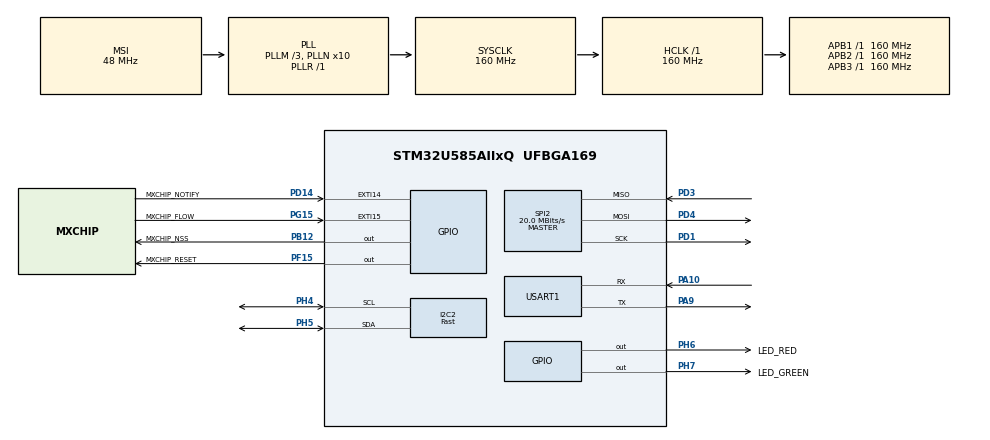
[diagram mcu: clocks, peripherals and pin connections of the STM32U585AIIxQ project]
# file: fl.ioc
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CORTEX_M33_NS.userName=CORTEX_M33
I2C2.I2C_Speed_Mode=I2C_Fast
I2C2.Timing=0x00F07BFF
Mcu.Family=STM32U5
Mcu.Name=STM32U585AIIxQ
Mcu.Package=UFBGA169
NETXDUO.NX_APP_MEM_POOL_SIZE=80*1024
NETXDUO.NX_DRIVER_DEFERRED_PROCESSING=true
NETXDUO.NX_IP_PERIODIC_RATE=1000
NETXDUO.NX_PHYSICAL_HEADER=44
NETXDUO.NX_SNTP_CLIENT_MAX_ROOT_DISPERSION=500000
NETXDUO.NX_SNTP_CLIENT_MIN_SERVER_STRATUM=5
NVIC.EXTI14_IRQn=true\:5\:0\:true\:false\:true\:false\:false\:true\:true
NVIC.EXTI15_IRQn=true\:5\:0\:true\:false\:true\:false\:false\:true\:true
NVIC.PriorityGroup=NVIC_PRIORITYGROUP_4
NVIC.TIM6_IRQn=true\:15\:0\:false\:false\:true\:false\:false\:true\:true
NVIC.TimeBase=TIM6_IRQn
NVIC.TimeBaseIP=TIM6
NVIC.USART1_IRQn=true\:5\:0\:true\:false\:true\:false\:false\:true\:true
PA10.Mode=Asynchronous
PA10.Signal=USART1_RX
PA9.Mode=Asynchronous
PA9.Signal=USART1_TX
PB12.GPIO_Label=MXCHIP_NSS
PB12.GPIO_Speed=GPIO_SPEED_FREQ_HIGH
PB12.PinState=GPIO_PIN_SET
PB12.Signal=GPIO_Output
PD1.GPIO_Mode=GPIO_MODE_AF_PP
PD1.GPIO_PuPd=GPIO_NOPULL
PD1.GPIO_Speed=GPIO_SPEED_FREQ_LOW
PD1.Mode=Full_Duplex_Master
PD1.Signal=SPI2_SCK
PD14.GPIO_Label=MXCHIP_NOTIFY
PD14.Signal=GPXTI14
PD3.GPIO_Mode=GPIO_MODE_AF_PP
PD3.GPIO_PuPd=GPIO_NOPULL
PD3.GPIO_Speed=GPIO_SPEED_FREQ_LOW
PD3.Mode=Full_Duplex_Master
PD3.Signal=SPI2_MISO
PD4.GPIO_Mode=GPIO_MODE_AF_PP
PD4.GPIO_PuPd=GPIO_NOPULL
PD4.GPIO_Speed=GPIO_SPEED_FREQ_LOW
PD4.Mode=Full_Duplex_Master
PD4.Signal=SPI2_MOSI
PF15.GPIO_Label=MXCHIP_RESET
PF15.GPIO_Speed=GPIO_SPEED_FREQ_HIGH
PF15.Signal=GPIO_Output
PG15.GPIO_Label=MXCHIP_FLOW
PG15.Signal=GPXTI15
PH4.Mode=I2C
PH4.Signal=I2C2_SCL
PH5.Mode=I2C
PH5.Signal=I2C2_SDA
PH6.GPIO_Label=LED_RED
PH6.GPIO_Speed=GPIO_SPEED_FREQ_HIGH
PH6.PinState=GPIO_PIN_SET
PH6.Signal=GPIO_Output
PH7.GPIO_Label=LED_GREEN
PH7.GPIO_Speed=GPIO_SPEED_FREQ_HIGH
PH7.PinState=GPIO_PIN_SET
PH7.Signal=GPIO_Output
PWR.PowerMode=PWR_SMPS_SUPPLY
ProjectManager.HeapSize=0x200
ProjectManager.StackSize=0x400
ProjectManager.TargetToolchain=CMake
RCC.ADCFreq_Value=16000000
RCC.AHBFreq_Value=160000000
RCC.APB1Freq_Value=160000000
RCC.APB1TimFreq_Value=160000000
RCC.APB2Freq_Value=160000000
RCC.APB2TimFreq_Value=160000000
RCC.APB3Freq_Value=160000000
RCC.CortexFreq_Value=160000000
RCC.DACCLockSelectionVirtual=RCC_DAC1CLKSOURCE_LSI
RCC.EPOD_VALUE=48000000
RCC.HCLKFreq_Value=160000000
RCC.HSE_VALUE=16000000
RCC.HSI48_VALUE=48000000
RCC.HSI_VALUE=16000000
RCC.LSE_VALUE=32768
RCC.LSIDIV_VALUE=32000
RCC.MSIClockRange=RCC_MSIRANGE_0
RCC.MSI_VALUE=48000000
RCC.PLL1R=1
RCC.PLLM=3
RCC.PLLN=10
RCC.SPI2CLockSelection=RCC_SPI2CLKSOURCE_PCLK1
RCC.SYSCLKFreq_VALUE=160000000
RCC.SYSCLKSource=RCC_SYSCLKSOURCE_PLLCLK
RCC.USBFreq_Value=48000000
RCC.VCOOutputFreq_Value=160000000
SPI2.BaudRatePrescaler=SPI_BAUDRATEPRESCALER_8
SPI2.CalculateBaudRate=20.0 MBits/s
SPI2.DataSize=SPI_DATASIZE_8BIT
SPI2.Direction=SPI_DIRECTION_2LINES
SPI2.Mode=SPI_MODE_MASTER
SPI2.NSSPMode=SPI_NSS_PULSE_DISABLE
SPI2.VirtualType=VM_MASTER
THREADX.TX_APP_CREATION=1
THREADX.TX_APP_GENERATE_INIT_CODE=true
THREADX.TX_APP_MEM_POOL_SIZE=8192
THREADX.TX_APP_STACK_SIZE=2048
THREADX.TX_APP_THREAD_ENTRY=tx_sensor_entry
THREADX.TX_APP_THREAD_NAME=tx_sensor
THREADX.TX_APP_THREAD_PRIO=2
THREADX.TX_TIMER_TICKS_PER_SECOND=1000
USART1.VirtualMode-Asynchronous=VM_ASYNC
VP_ICACHE_VS_ICACHE.Mode=DirectMappedCache
VP_LPBAMQUEUE_VS_QUEUE.Mode=QUEUEMODE
VP_LPBAM_VS_SIG1.Mode=SmartRun
VP_LPBAM_VS_SIG4.Mode=LPDMA1
VP_MEMORYMAP_VS_MEMORYMAP.Mode=CurAppReg
VP_NETXDUO_VS_AddonsOoDHCP.Mode=Addons_DHCP_Client
VP_NETXDUO_VS_AddonsOoDNS.Mode=Addons_DNS
VP_NETXDUO_VS_AddonsOoSNTP.Mode=Addons_SNTP
VP_NETXDUO_VS_NXOoCore.Mode=NX_Core
VP_PWR_VS_DBSignals.Mode=DisableDeadBatterySignals
VP_PWR_VS_LPOM.Mode=PowerOptimisation
VP_PWR_VS_SECSignals.Mode=Security/Privilege
VP_RTC_VS_RTC_Activate.Mode=RTC_Enabled
VP_SYS_VS_tim6.Mode=TIM6
VP_THREADX_VS_RTOSJjThreadXJjCoreJjDefault.Mode=Core_Default
board=B-U585I-IOT02A

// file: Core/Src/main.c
/* USER CODE BEGIN Header */
/**
  ******************************************************************************
  * @file           : main.c
  * @brief          : Main program body
  ******************************************************************************
  * @attention
  *
  * Copyright (c) 2021 STMicroelectronics.
  * All rights reserved.
  *
  * This software is licensed under terms that can be found in the LICENSE file
  * in the root directory of this software component.
  * If no LICENSE file comes with this software, it is provided AS-IS.
  *
  ******************************************************************************
  */
/* USER CODE END Header */
#include "app_threadx.h"
#include "main.h"

/* USER CODE BEGIN Includes */
#include <stdio.h>
#include <unistd.h> // for _write

#include "b_u585i_iot02a.h"
#include "b_u585i_iot02a_motion_sensors.h"
#include "b_u585i_iot02a_env_sensors.h"
#include "ism330dhcx.h"

#include "mx_wifi_conf.h"

#if defined(__ICCARM__)
#include <LowLevelIOInterface.h>
#endif /* __ICCARM__ */
/* USER CODE END Includes */

/* USER CODE BEGIN PTD */
#if defined(__ICCARM__)
/* New definition from EWARM V9, compatible with EWARM8 */
int iar_fputc(int ch);
#define PUTCHAR_PROTOTYPE int iar_fputc(int ch)
#elif defined ( __GNUC__) && !defined(__clang__)
/* With GCC, small printf (option LD Linker->Libraries->Small printf
   set to 'Yes') calls __io_putchar() */
#define PUTCHAR_PROTOTYPE int __io_putchar(int ch)
#else
#define PUTCHAR_PROTOTYPE int fputc(int ch, FILE *f)
#endif /* __ICCARM__ */
/* USER CODE END PTD */

I2C_HandleTypeDef hi2c2;

RTC_HandleTypeDef hrtc;

SPI_HandleTypeDef hspi2;

UART_HandleTypeDef huart1;

/* USER CODE BEGIN PV */
extern uint8_t uart_rx_byte;
/* USER CODE END PV */

void SystemClock_Config(void);
static void SystemPower_Config(void);
static void MX_GPIO_Init(void);
static void MX_ICACHE_Init(void);
static void MX_SPI2_Init(void);
static void MX_USART1_UART_Init(void);
static void MX_RTC_Init(void);
static void MX_I2C2_Init(void);

/* USER CODE BEGIN 0 */
void HAL_GPIO_EXTI_Rising_Callback(uint16_t GPIO_Pin)
{
  switch (GPIO_Pin)
  {
    case (GPIO_PIN_1):

      break;
#if MX_WIFI_USE_SPI == 1
    case (MXCHIP_FLOW_Pin):
      mxchip_WIFI_ISR(MXCHIP_FLOW_Pin);
      nx_driver_emw3080_interrupt();
      break;

    case (MXCHIP_NOTIFY_Pin):
      mxchip_WIFI_ISR(MXCHIP_NOTIFY_Pin);
      nx_driver_emw3080_interrupt();
      break;
#endif /* MX_WIFI_USE_SPI */

    default:
      break;
  }
}

void Success_Handler(void)
{
   HAL_GPIO_WritePin(LED_RED_GPIO_Port, LED_RED_Pin, GPIO_PIN_SET);
   while(1)
   {
     HAL_GPIO_TogglePin(LED_GREEN_GPIO_Port, LED_GREEN_Pin);
     tx_thread_sleep(50);
   }
}
/* USER CODE END 0 */

int main(void)
{

  /* MCU Configuration--------------------------------------------------------*/

  /* Reset of all peripherals, Initializes the Flash interface and the Systick. */
  HAL_Init();

  /* Configure the System Power */
  SystemPower_Config();

  /* Configure the system clock */
  SystemClock_Config();

  /* Initialize all configured peripherals */
  MX_GPIO_Init();
  MX_ICACHE_Init();
  MX_SPI2_Init();
  MX_USART1_UART_Init();
  MX_RTC_Init();
  MX_I2C2_Init();
  /* USER CODE BEGIN 2 */
   // setvbuf(stdout, NULL, _IONBF, 0);    // this line was required to be added in lab07, but when added here, for some reason, it stops board-to-pc communication. Ignore for now.

  // ---- IMU Sensor (ACC + GYRO) ----
  BSP_MOTION_SENSOR_Init(0U, MOTION_ACCELERO | MOTION_GYRO);

  // Configure Accelerometer (26 Hz, 4g)
  BSP_MOTION_SENSOR_SetOutputDataRate(0U, MOTION_ACCELERO, 26.0f);
  BSP_MOTION_SENSOR_SetFullScale(0U, MOTION_ACCELERO, 4);

  // Configure Gyroscope (26 Hz, 2000 dps full scale)
  BSP_MOTION_SENSOR_SetOutputDataRate(0U, MOTION_GYRO, 26.0f);
  BSP_MOTION_SENSOR_SetFullScale(0U, MOTION_GYRO, 2000);

  BSP_MOTION_SENSOR_Enable(0U, MOTION_ACCELERO);
  BSP_MOTION_SENSOR_Enable(0U, MOTION_GYRO);

  // ---- Pressure Sensor ----
  BSP_ENV_SENSOR_Init(1, ENV_PRESSURE);
  BSP_ENV_SENSOR_Enable(1, ENV_PRESSURE);

  // initialize button in EXTI interrupt mode
  BSP_PB_Init(BUTTON_USER, BUTTON_MODE_EXTI);

  // prime the UART receive interrupt
  HAL_UART_Receive_IT(&huart1, &uart_rx_byte, 1);

  /* USER CODE END 2 */

  MX_ThreadX_Init();

  /* We should never get here as control is now taken by the scheduler */

  /* Infinite loop */
  while (1)
  {

  }
}

void SystemClock_Config(void)
{
  RCC_OscInitTypeDef RCC_OscInitStruct = {0};
  RCC_ClkInitTypeDef RCC_ClkInitStruct = {0};

  /** Configure the main internal regulator output voltage
  */
  if (HAL_PWREx_ControlVoltageScaling(PWR_REGULATOR_VOLTAGE_SCALE1) != HAL_OK)
  {
    Error_Handler();
  }

  /** Initializes the CPU, AHB and APB buses clocks
  */
  RCC_OscInitStruct.OscillatorType = RCC_OSCILLATORTYPE_LSI|RCC_OSCILLATORTYPE_MSI;
  RCC_OscInitStruct.LSIState = RCC_LSI_ON;
  RCC_OscInitStruct.MSIState = RCC_MSI_ON;
  RCC_OscInitStruct.MSICalibrationValue = RCC_MSICALIBRATION_DEFAULT;
  RCC_OscInitStruct.MSIClockRange = RCC_MSIRANGE_0;
  RCC_OscInitStruct.LSIDiv = RCC_LSI_DIV1;
  RCC_OscInitStruct.PLL.PLLState = RCC_PLL_ON;
  RCC_OscInitStruct.PLL.PLLSource = RCC_PLLSOURCE_MSI;
  RCC_OscInitStruct.PLL.PLLMBOOST = RCC_PLLMBOOST_DIV4;
  RCC_OscInitStruct.PLL.PLLM = 3;
  RCC_OscInitStruct.PLL.PLLN = 10;
  RCC_OscInitStruct.PLL.PLLP = 2;
  RCC_OscInitStruct.PLL.PLLQ = 2;
  RCC_OscInitStruct.PLL.PLLR = 1;
  RCC_OscInitStruct.PLL.PLLRGE = RCC_PLLVCIRANGE_1;
  RCC_OscInitStruct.PLL.PLLFRACN = 0;
  if (HAL_RCC_OscConfig(&RCC_OscInitStruct) != HAL_OK)
  {
    Error_Handler();
  }

  /** Initializes the CPU, AHB and APB buses clocks
  */
  RCC_ClkInitStruct.ClockType = RCC_CLOCKTYPE_HCLK|RCC_CLOCKTYPE_SYSCLK
                              |RCC_CLOCKTYPE_PCLK1|RCC_CLOCKTYPE_PCLK2
                              |RCC_CLOCKTYPE_PCLK3;
  RCC_ClkInitStruct.SYSCLKSource = RCC_SYSCLKSOURCE_PLLCLK;
  RCC_ClkInitStruct.AHBCLKDivider = RCC_SYSCLK_DIV1;
  RCC_ClkInitStruct.APB1CLKDivider = RCC_HCLK_DIV1;
  RCC_ClkInitStruct.APB2CLKDivider = RCC_HCLK_DIV1;
  RCC_ClkInitStruct.APB3CLKDivider = RCC_HCLK_DIV1;

  if (HAL_RCC_ClockConfig(&RCC_ClkInitStruct, FLASH_LATENCY_4) != HAL_OK)
  {
    Error_Handler();
  }
}

/**
  * @brief Power Configuration
  * @retval None
  */
static void SystemPower_Config(void)
{
  HAL_PWREx_EnableVddIO2();

  /*
   * Disable the internal Pull-Up in Dead Battery pins of UCPD peripheral
   */
  HAL_PWREx_DisableUCPDDeadBattery();

  /*
   * Switch to SMPS regulator instead of LDO
   */
  if (HAL_PWREx_ConfigSupply(PWR_SMPS_SUPPLY) != HAL_OK)
  {
    Error_Handler();
  }
}

static void MX_I2C2_Init(void)
{

  hi2c2.Instance = I2C2;
  hi2c2.Init.Timing = 0x00F07BFF;
  hi2c2.Init.OwnAddress1 = 0;
  hi2c2.Init.AddressingMode = I2C_ADDRESSINGMODE_7BIT;
  hi2c2.Init.DualAddressMode = I2C_DUALADDRESS_DISABLE;
  hi2c2.Init.OwnAddress2 = 0;
  hi2c2.Init.OwnAddress2Masks = I2C_OA2_NOMASK;
  hi2c2.Init.GeneralCallMode = I2C_GENERALCALL_DISABLE;
  hi2c2.Init.NoStretchMode = I2C_NOSTRETCH_DISABLE;
  if (HAL_I2C_Init(&hi2c2) != HAL_OK)
  {
    Error_Handler();
  }

  /** Configure Analogue filter
  */
  if (HAL_I2CEx_ConfigAnalogFilter(&hi2c2, I2C_ANALOGFILTER_ENABLE) != HAL_OK)
  {
    Error_Handler();
  }

  /** Configure Digital filter
  */
  if (HAL_I2CEx_ConfigDigitalFilter(&hi2c2, 0) != HAL_OK)
  {
    Error_Handler();
  }

}

static void MX_ICACHE_Init(void)
{

  /** Enable instruction cache in 1-way (direct mapped cache)
  */
  if (HAL_ICACHE_ConfigAssociativityMode(ICACHE_1WAY) != HAL_OK)
  {
    Error_Handler();
  }
  if (HAL_ICACHE_Enable() != HAL_OK)
  {
    Error_Handler();
  }

}

static void MX_RTC_Init(void)
{

  RTC_PrivilegeStateTypeDef privilegeState = {0};

  /** Initialize RTC Only
  */
  hrtc.Instance = RTC;
  hrtc.Init.HourFormat = RTC_HOURFORMAT_24;
  hrtc.Init.AsynchPrediv = 127;
  hrtc.Init.SynchPrediv = 255;
  hrtc.Init.OutPut = RTC_OUTPUT_DISABLE;
  hrtc.Init.OutPutRemap = RTC_OUTPUT_REMAP_NONE;
  hrtc.Init.OutPutPolarity = RTC_OUTPUT_POLARITY_HIGH;
  hrtc.Init.OutPutType = RTC_OUTPUT_TYPE_OPENDRAIN;
  hrtc.Init.OutPutPullUp = RTC_OUTPUT_PULLUP_NONE;
  hrtc.Init.BinMode = RTC_BINARY_NONE;
  if (HAL_RTC_Init(&hrtc) != HAL_OK)
  {
    Error_Handler();
  }
  privilegeState.rtcPrivilegeFull = RTC_PRIVILEGE_FULL_NO;
  privilegeState.backupRegisterPrivZone = RTC_PRIVILEGE_BKUP_ZONE_NONE;
  privilegeState.backupRegisterStartZone2 = RTC_BKP_DR0;
  privilegeState.backupRegisterStartZone3 = RTC_BKP_DR0;
  if (HAL_RTCEx_PrivilegeModeSet(&hrtc, &privilegeState) != HAL_OK)
  {
    Error_Handler();
  }

}

static void MX_SPI2_Init(void)
{

  SPI_AutonomousModeConfTypeDef HAL_SPI_AutonomousMode_Cfg_Struct = {0};

  /* SPI2 parameter configuration*/
  hspi2.Instance = SPI2;
  hspi2.Init.Mode = SPI_MODE_MASTER;
  hspi2.Init.Direction = SPI_DIRECTION_2LINES;
  hspi2.Init.DataSize = SPI_DATASIZE_8BIT;
  hspi2.Init.CLKPolarity = SPI_POLARITY_LOW;
  hspi2.Init.CLKPhase = SPI_PHASE_1EDGE;
  hspi2.Init.NSS = SPI_NSS_SOFT;
  hspi2.Init.BaudRatePrescaler = SPI_BAUDRATEPRESCALER_8;
  hspi2.Init.FirstBit = SPI_FIRSTBIT_MSB;
  hspi2.Init.TIMode = SPI_TIMODE_DISABLE;
  hspi2.Init.CRCCalculation = SPI_CRCCALCULATION_DISABLE;
  hspi2.Init.CRCPolynomial = 0x7;
  hspi2.Init.NSSPMode = SPI_NSS_PULSE_DISABLE;
  hspi2.Init.NSSPolarity = SPI_NSS_POLARITY_LOW;
  hspi2.Init.FifoThreshold = SPI_FIFO_THRESHOLD_01DATA;
  hspi2.Init.MasterSSIdleness = SPI_MASTER_SS_IDLENESS_00CYCLE;
  hspi2.Init.MasterInterDataIdleness = SPI_MASTER_INTERDATA_IDLENESS_00CYCLE;
  hspi2.Init.MasterReceiverAutoSusp = SPI_MASTER_RX_AUTOSUSP_DISABLE;
  hspi2.Init.MasterKeepIOState = SPI_MASTER_KEEP_IO_STATE_DISABLE;
  hspi2.Init.IOSwap = SPI_IO_SWAP_DISABLE;
  hspi2.Init.ReadyMasterManagement = SPI_RDY_MASTER_MANAGEMENT_INTERNALLY;
  hspi2.Init.ReadyPolarity = SPI_RDY_POLARITY_HIGH;
  if (HAL_SPI_Init(&hspi2) != HAL_OK)
  {
    Error_Handler();
  }
  HAL_SPI_AutonomousMode_Cfg_Struct.TriggerState = SPI_AUTO_MODE_DISABLE;
  HAL_SPI_AutonomousMode_Cfg_Struct.TriggerSelection = SPI_GRP1_GPDMA_CH0_TCF_TRG;
  HAL_SPI_AutonomousMode_Cfg_Struct.TriggerPolarity = SPI_TRIG_POLARITY_RISING;
  if (HAL_SPIEx_SetConfigAutonomousMode(&hspi2, &HAL_SPI_AutonomousMode_Cfg_Struct) != HAL_OK)
  {
    Error_Handler();
  }
  /* USER CODE BEGIN SPI2_Init 2 */
SPI2->CFG1 |= 0x00000007 << SPI_CFG1_CRCSIZE_Pos;
  /* USER CODE END SPI2_Init 2 */

}

static void MX_USART1_UART_Init(void)
{

  huart1.Instance = USART1;
  huart1.Init.BaudRate = 115200;
  huart1.Init.WordLength = UART_WORDLENGTH_8B;
  huart1.Init.StopBits = UART_STOPBITS_1;
  huart1.Init.Parity = UART_PARITY_NONE;
  huart1.Init.Mode = UART_MODE_TX_RX;
  huart1.Init.HwFlowCtl = UART_HWCONTROL_NONE;
  huart1.Init.OverSampling = UART_OVERSAMPLING_16;
  huart1.Init.OneBitSampling = UART_ONE_BIT_SAMPLE_DISABLE;
  huart1.Init.ClockPrescaler = UART_PRESCALER_DIV1;
  huart1.AdvancedInit.AdvFeatureInit = UART_ADVFEATURE_NO_INIT;
  if (HAL_UART_Init(&huart1) != HAL_OK)
  {
    Error_Handler();
  }
  if (HAL_UARTEx_SetTxFifoThreshold(&huart1, UART_TXFIFO_THRESHOLD_1_8) != HAL_OK)
  {
    Error_Handler();
  }
  if (HAL_UARTEx_SetRxFifoThreshold(&huart1, UART_RXFIFO_THRESHOLD_1_8) != HAL_OK)
  {
    Error_Handler();
  }
  if (HAL_UARTEx_DisableFifoMode(&huart1) != HAL_OK)
  {
    Error_Handler();
  }

}

static void MX_GPIO_Init(void)
{
  GPIO_InitTypeDef GPIO_InitStruct = {0};

  /* GPIO Ports Clock Enable */
  __HAL_RCC_GPIOG_CLK_ENABLE();
  __HAL_RCC_GPIOD_CLK_ENABLE();
  __HAL_RCC_GPIOH_CLK_ENABLE();
  __HAL_RCC_GPIOA_CLK_ENABLE();
  __HAL_RCC_GPIOB_CLK_ENABLE();
  __HAL_RCC_GPIOF_CLK_ENABLE();

  /*Configure GPIO pin Output Level */
  HAL_GPIO_WritePin(GPIOH, LED_RED_Pin|LED_GREEN_Pin, GPIO_PIN_SET);

  /*Configure GPIO pin Output Level */
  HAL_GPIO_WritePin(MXCHIP_NSS_GPIO_Port, MXCHIP_NSS_Pin, GPIO_PIN_SET);

  /*Configure GPIO pin Output Level */
  HAL_GPIO_WritePin(MXCHIP_RESET_GPIO_Port, MXCHIP_RESET_Pin, GPIO_PIN_RESET);

  /*Configure GPIO pin : MXCHIP_FLOW_Pin */
  GPIO_InitStruct.Pin = MXCHIP_FLOW_Pin;
  GPIO_InitStruct.Mode = GPIO_MODE_IT_RISING;
  GPIO_InitStruct.Pull = GPIO_NOPULL;
  HAL_GPIO_Init(MXCHIP_FLOW_GPIO_Port, &GPIO_InitStruct);

  /*Configure GPIO pins : LED_RED_Pin LED_GREEN_Pin */
  GPIO_InitStruct.Pin = LED_RED_Pin|LED_GREEN_Pin;
  GPIO_InitStruct.Mode = GPIO_MODE_OUTPUT_PP;
  GPIO_InitStruct.Pull = GPIO_NOPULL;
  GPIO_InitStruct.Speed = GPIO_SPEED_FREQ_HIGH;
  HAL_GPIO_Init(GPIOH, &GPIO_InitStruct);

  /*Configure GPIO pin : MXCHIP_NOTIFY_Pin */
  GPIO_InitStruct.Pin = MXCHIP_NOTIFY_Pin;
  GPIO_InitStruct.Mode = GPIO_MODE_IT_RISING;
  GPIO_InitStruct.Pull = GPIO_NOPULL;
  HAL_GPIO_Init(MXCHIP_NOTIFY_GPIO_Port, &GPIO_InitStruct);

  /*Configure GPIO pin : MXCHIP_NSS_Pin */
  GPIO_InitStruct.Pin = MXCHIP_NSS_Pin;
  GPIO_InitStruct.Mode = GPIO_MODE_OUTPUT_PP;
  GPIO_InitStruct.Pull = GPIO_NOPULL;
  GPIO_InitStruct.Speed = GPIO_SPEED_FREQ_HIGH;
  HAL_GPIO_Init(MXCHIP_NSS_GPIO_Port, &GPIO_InitStruct);

  /*Configure GPIO pin : MXCHIP_RESET_Pin */
  GPIO_InitStruct.Pin = MXCHIP_RESET_Pin;
  GPIO_InitStruct.Mode = GPIO_MODE_OUTPUT_PP;
  GPIO_InitStruct.Pull = GPIO_NOPULL;
  GPIO_InitStruct.Speed = GPIO_SPEED_FREQ_HIGH;
  HAL_GPIO_Init(MXCHIP_RESET_GPIO_Port, &GPIO_InitStruct);

  /* EXTI interrupt init*/
  HAL_NVIC_SetPriority(EXTI14_IRQn, 5, 0);
  HAL_NVIC_EnableIRQ(EXTI14_IRQn);

  HAL_NVIC_SetPriority(EXTI15_IRQn, 5, 0);
  HAL_NVIC_EnableIRQ(EXTI15_IRQn);

}

/* USER CODE BEGIN 4 */

// Redirect printf to UART
int _write(int file, char* ptr, int len) {
  extern UART_HandleTypeDef huart1;
  extern TX_MUTEX uart_mutex;
  tx_mutex_get(&uart_mutex, TX_WAIT_FOREVER);
  HAL_UART_Transmit(&huart1, (uint8_t *)ptr, len, HAL_MAX_DELAY);
  tx_mutex_put(&uart_mutex);
  return 0;
}

/**
  * @brief  Retargets the C library __write function to the IAR function iar_fputc.
  * @param  file: file descriptor.
  * @param  ptr: pointer to the buffer where the data is stored.
  * @param  len: length of the data to write in bytes.
  * @retval length of the written data in bytes.
  */
#if defined(__ICCARM__)
size_t __write(int file, unsigned char const *ptr, size_t len)
{
  size_t idx;
  unsigned char const *pdata = ptr;

  for (idx = 0; idx < len; idx++)
  {
    iar_fputc((int)*pdata);
    pdata++;
  }
  return len;
}
#endif /* __ICCARM__ */

/**
  * @brief  Retargets the C library printf function to the USART.
  */
PUTCHAR_PROTOTYPE
{
  /* Place your implementation of fputc here */
  /* e.g. write a character to the USART1 and Loop until the end of transmission */
  HAL_UART_Transmit(&huart1, (uint8_t *)&ch, 1, 0xFFFF);

  return ch;
}
/* USER CODE END 4 */

void HAL_TIM_PeriodElapsedCallback(TIM_HandleTypeDef *htim)
{
  if (htim->Instance == TIM6)
  {
    HAL_IncTick();
  }
}

void Error_Handler(void)
{
  /* USER CODE BEGIN Error_Handler_Debug */
  /* User can add his own implementation to report the HAL error return state */
   HAL_GPIO_WritePin(LED_GREEN_GPIO_Port, LED_GREEN_Pin, GPIO_PIN_SET);
   while(1)
   {
     HAL_GPIO_TogglePin(LED_RED_GPIO_Port, LED_RED_Pin);
     tx_thread_sleep(20);
   }
  /* USER CODE END Error_Handler_Debug */
}
